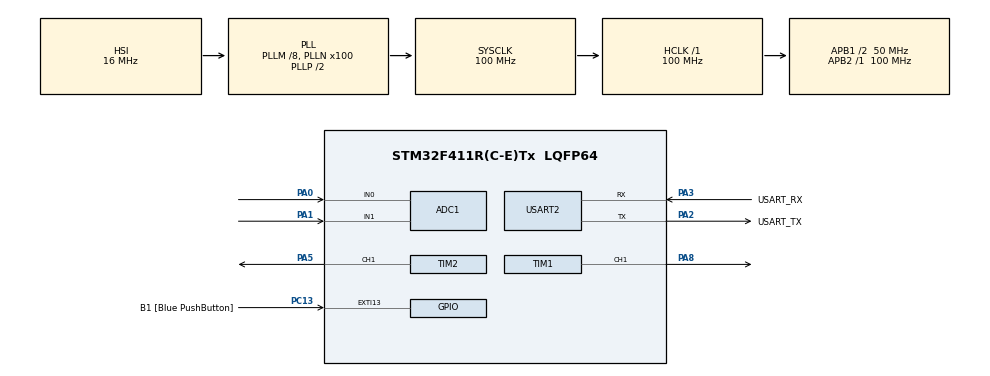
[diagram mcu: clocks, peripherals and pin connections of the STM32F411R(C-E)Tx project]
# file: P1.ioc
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ADC1.Channel-0\#ChannelRegularConversion=ADC_CHANNEL_0
ADC1.Channel-2\#ChannelRegularConversion=ADC_CHANNEL_1
ADC1.ContinuousConvMode=DISABLE
ADC1.DiscontinuousConvMode=DISABLE
ADC1.InjNumberOfConversion=0
ADC1.NbrOfConversion=2
ADC1.NbrOfConversionFlag=1
ADC1.Rank-0\#ChannelRegularConversion=1
ADC1.Rank-2\#ChannelRegularConversion=2
ADC1.SamplingTime-0\#ChannelRegularConversion=ADC_SAMPLETIME_15CYCLES
ADC1.SamplingTime-2\#ChannelRegularConversion=ADC_SAMPLETIME_15CYCLES
ADC1.ScanConvMode=ENABLE
ADC1.master=1
Dma.Request0=USART2_RX
Dma.Request1=USART2_TX
Dma.USART2_RX.0.Direction=DMA_PERIPH_TO_MEMORY
Dma.USART2_RX.0.FIFOMode=DMA_FIFOMODE_DISABLE
Dma.USART2_RX.0.Instance=DMA1_Stream5
Dma.USART2_RX.0.MemDataAlignment=DMA_MDATAALIGN_BYTE
Dma.USART2_RX.0.MemInc=DMA_MINC_ENABLE
Dma.USART2_RX.0.Mode=DMA_NORMAL
Dma.USART2_RX.0.PeriphDataAlignment=DMA_PDATAALIGN_BYTE
Dma.USART2_RX.0.PeriphInc=DMA_PINC_DISABLE
Dma.USART2_RX.0.Priority=DMA_PRIORITY_LOW
Dma.USART2_TX.1.Direction=DMA_MEMORY_TO_PERIPH
Dma.USART2_TX.1.FIFOMode=DMA_FIFOMODE_DISABLE
Dma.USART2_TX.1.Instance=DMA1_Stream6
Dma.USART2_TX.1.MemDataAlignment=DMA_MDATAALIGN_BYTE
Dma.USART2_TX.1.MemInc=DMA_MINC_ENABLE
Dma.USART2_TX.1.Mode=DMA_NORMAL
Dma.USART2_TX.1.PeriphDataAlignment=DMA_PDATAALIGN_BYTE
Dma.USART2_TX.1.PeriphInc=DMA_PINC_DISABLE
Dma.USART2_TX.1.Priority=DMA_PRIORITY_LOW
Mcu.Family=STM32F4
Mcu.Name=STM32F411R(C-E)Tx
Mcu.Package=LQFP64
NVIC.DMA1_Stream5_IRQn=true\:0\:0\:false\:false\:true\:false\:true\:true
NVIC.DMA1_Stream6_IRQn=true\:0\:0\:false\:false\:true\:false\:true\:true
NVIC.PriorityGroup=NVIC_PRIORITYGROUP_0
NVIC.USART2_IRQn=true\:0\:0\:false\:false\:true\:true\:true\:true
PA0-WKUP.Signal=ADCx_IN0
PA1.Signal=ADCx_IN1
PA13.GPIO_Label=TMS
PA13.Mode=Serial_Wire
PA13.Signal=SYS_JTMS-SWDIO
PA14.GPIO_Label=TCK
PA14.Mode=Serial_Wire
PA14.Signal=SYS_JTCK-SWCLK
PA2.GPIO_Label=USART_TX
PA2.Mode=Asynchronous
PA2.Signal=USART2_TX
PA3.GPIO_Label=USART_RX
PA3.Mode=Asynchronous
PA3.Signal=USART2_RX
PA5.Signal=S_TIM2_CH1_ETR
PA8.Signal=S_TIM1_CH1
PB3.GPIO_Label=SWO
PB3.Signal=SYS_JTDO-SWO
PC13-ANTI_TAMP.GPIO_Label=B1 [Blue PushButton]
PC13-ANTI_TAMP.GPIO_ModeDefaultEXTI=GPIO_MODE_IT_FALLING
PC13-ANTI_TAMP.Signal=GPXTI13
PC14-OSC32_IN.Mode=LSE-External-Oscillator
PC14-OSC32_IN.Signal=RCC_OSC32_IN
PC15-OSC32_OUT.Mode=LSE-External-Oscillator
PC15-OSC32_OUT.Signal=RCC_OSC32_OUT
PH0\ -\ OSC_IN.Mode=HSE-External-Clock-Source
PH0\ -\ OSC_IN.Signal=RCC_OSC_IN
PH1\ -\ OSC_OUT.Mode=HSE-External-Clock-Source
PH1\ -\ OSC_OUT.Signal=RCC_OSC_OUT
ProjectManager.HeapSize=0x200
ProjectManager.StackSize=0x400
ProjectManager.TargetToolchain=MDK-ARM V5.32
RCC.48MHZClocksFreq_Value=50000000
RCC.AHBFreq_Value=100000000
RCC.APB1CLKDivider=RCC_HCLK_DIV2
RCC.APB1Freq_Value=50000000
RCC.APB1TimFreq_Value=100000000
RCC.APB2Freq_Value=100000000
RCC.APB2TimFreq_Value=100000000
RCC.CortexFreq_Value=100000000
RCC.FLatency-AdvancedSettings=FLASH_LATENCY_3
RCC.HCLKFreq_Value=100000000
RCC.HSE_VALUE=8000000
RCC.HSI_VALUE=16000000
RCC.PLLM=8
RCC.PLLN=100
RCC.SYSCLKFreq_VALUE=100000000
RCC.SYSCLKSource=RCC_SYSCLKSOURCE_PLLCLK
RCC.VCOOutputFreq_Value=200000000
SH.ADCx_IN0.0=ADC1_IN0,IN0
SH.ADCx_IN1.0=ADC1_IN1,IN1
SH.S_TIM1_CH1.0=TIM1_CH1,PWM Generation1 CH1
SH.S_TIM2_CH1_ETR.0=TIM2_CH1,PWM Generation1 CH1
TIM1.Channel-PWM\ Generation1\ CH1=TIM_CHANNEL_1
TIM1.Period=999
TIM1.Prescaler=1999
TIM2.Channel-PWM\ Generation1\ CH1=TIM_CHANNEL_1
TIM2.Period=999
TIM2.Prescaler=1999
USART2.VirtualMode=VM_ASYNC
VP_TIM1_VS_ClockSourceINT.Mode=Internal
VP_TIM2_VS_ClockSourceINT.Mode=Internal
board=NUCLEO-F411RE

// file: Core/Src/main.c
/* USER CODE BEGIN Header */
/**
  ******************************************************************************
  * @file           : main.c
  * @brief          : Main program body
  ******************************************************************************
  * @attention
  *
  * Copyright (c) 2022 STMicroelectronics.
  * All rights reserved.
  *
  * This software is licensed under terms that can be found in the LICENSE file
  * in the root directory of this software component.
  * If no LICENSE file comes with this software, it is provided AS-IS.
  *
  ******************************************************************************
  */
/* USER CODE END Header */
#include "main.h"
#include "adc.h"
#include "dma.h"
#include "tim.h"
#include "usart.h"
#include "gpio.h"

/* USER CODE BEGIN Includes */
#include"stdio.h"
/* USER CODE END Includes */

/* USER CODE BEGIN PD */
#define LENGTH 100
/* USER CODE END PD */

/* USER CODE BEGIN PV */
uint8_t RxBuffer[LENGTH];
uint8_t RecCount = 0;
uint8_t RxFlag =0;
uint16_t ADCx,ADCy;
uint16_t ADC_Values[2];
/* USER CODE END PV */

void SystemClock_Config(void);

int main(void)
{

  /* MCU Configuration--------------------------------------------------------*/

  /* Reset of all peripherals, Initializes the Flash interface and the Systick. */
  HAL_Init();

  /* Configure the system clock */
  SystemClock_Config();

  /* Initialize all configured peripherals */
  MX_GPIO_Init();
  MX_DMA_Init();
  MX_ADC1_Init();
  MX_TIM1_Init();
  MX_USART2_UART_Init();
  MX_TIM2_Init();
  /* USER CODE BEGIN 2 */
  HAL_TIM_PWM_Start(&htim1,TIM_CHANNEL_1);
  HAL_TIM_PWM_Start(&htim2,TIM_CHANNEL_1);
  __HAL_UART_ENABLE_IT(&huart2,UART_IT_IDLE);
  HAL_UART_Receive_DMA(&huart2,(uint8_t*)RxBuffer,LENGTH);
  __HAL_TIM_SET_COMPARE(&htim1,TIM_CHANNEL_1,50);

  /* USER CODE END 2 */

  /* Infinite loop */
  while (1)
  {

    /* USER CODE BEGIN 3 */

    for(int i =0;i<=1;i++)
    {

      HAL_ADC_Start(&hadc1);
      HAL_ADC_PollForConversion(&hadc1,300);
      ADC_Values[i]=HAL_ADC_GetValue(&hadc1);

    }
    //__HAL_TIM_SET_COMPARE(&htim1,TIM_CHANNEL_1,ADC_Values[0]*100/4096);
    __HAL_TIM_SET_COMPARE(&htim1,TIM_CHANNEL_1,ADC_Values[0]*100/4096);
    __HAL_TIM_SET_COMPARE(&htim2,TIM_CHANNEL_1,ADC_Values[0]*100/4096);
    char text[50];
    sprintf(text,"ADC_Value  %d  %d",ADC_Values[0],ADC_Values[1]);
    //printf((uint8_t*)text);
    float n =ADC_Values[0]*100/4096.0;
    printf("      %.2f\r\n",n);
    HAL_ADC_Stop(&hadc1);
    if(RxFlag == 1)
    {
      RxFlag =0;
      RecCount = LENGTH - __HAL_DMA_GET_COUNTER(&hdma_usart2_rx);
      HAL_UART_Transmit_DMA(&huart2,(uint8_t*)RxBuffer,RecCount);
      RecCount = 0;
       __HAL_DMA_DISABLE(&hdma_usart2_rx);
    }
  }

  /* USER CODE END 3 */
}

void SystemClock_Config(void)
{
  RCC_OscInitTypeDef RCC_OscInitStruct = {0};
  RCC_ClkInitTypeDef RCC_ClkInitStruct = {0};

  /** Configure the main internal regulator output voltage
  */
  __HAL_RCC_PWR_CLK_ENABLE();
  __HAL_PWR_VOLTAGESCALING_CONFIG(PWR_REGULATOR_VOLTAGE_SCALE1);

  /** Initializes the RCC Oscillators according to the specified parameters
  * in the RCC_OscInitTypeDef structure.
  */
  RCC_OscInitStruct.OscillatorType = RCC_OSCILLATORTYPE_HSI;
  RCC_OscInitStruct.HSIState = RCC_HSI_ON;
  RCC_OscInitStruct.HSICalibrationValue = RCC_HSICALIBRATION_DEFAULT;
  RCC_OscInitStruct.PLL.PLLState = RCC_PLL_ON;
  RCC_OscInitStruct.PLL.PLLSource = RCC_PLLSOURCE_HSI;
  RCC_OscInitStruct.PLL.PLLM = 8;
  RCC_OscInitStruct.PLL.PLLN = 100;
  RCC_OscInitStruct.PLL.PLLP = RCC_PLLP_DIV2;
  RCC_OscInitStruct.PLL.PLLQ = 4;
  if (HAL_RCC_OscConfig(&RCC_OscInitStruct) != HAL_OK)
  {
    Error_Handler();
  }

  /** Initializes the CPU, AHB and APB buses clocks
  */
  RCC_ClkInitStruct.ClockType = RCC_CLOCKTYPE_HCLK|RCC_CLOCKTYPE_SYSCLK
                              |RCC_CLOCKTYPE_PCLK1|RCC_CLOCKTYPE_PCLK2;
  RCC_ClkInitStruct.SYSCLKSource = RCC_SYSCLKSOURCE_PLLCLK;
  RCC_ClkInitStruct.AHBCLKDivider = RCC_SYSCLK_DIV1;
  RCC_ClkInitStruct.APB1CLKDivider = RCC_HCLK_DIV2;
  RCC_ClkInitStruct.APB2CLKDivider = RCC_HCLK_DIV1;

  if (HAL_RCC_ClockConfig(&RCC_ClkInitStruct, FLASH_LATENCY_3) != HAL_OK)
  {
    Error_Handler();
  }
}

/* USER CODE BEGIN 4 */
void HAL_UART_RxCpltCallback(UART_HandleTypeDef *huart)
{//DMA终端回调函数
  if(huart ->Instance == USART2)
  {
    HAL_UART_Receive_DMA(&huart2,(uint8_t*)RxBuffer,LENGTH);
  }
}
void HAL_UART_IdleCpltCallback(UART_HandleTypeDef *huart)
{
  RxFlag = 1;
}
int fputc(int ch, FILE *f)
{
	while((USART2->SR&0X40)==0);//循环发�??,直到发�?�完�?
    USART2->DR = (unsigned char) ch;
	return ch;
}
/* USER CODE END 4 */

void Error_Handler(void)
{
  __disable_irq();
  while (1)
  {
  }
}
